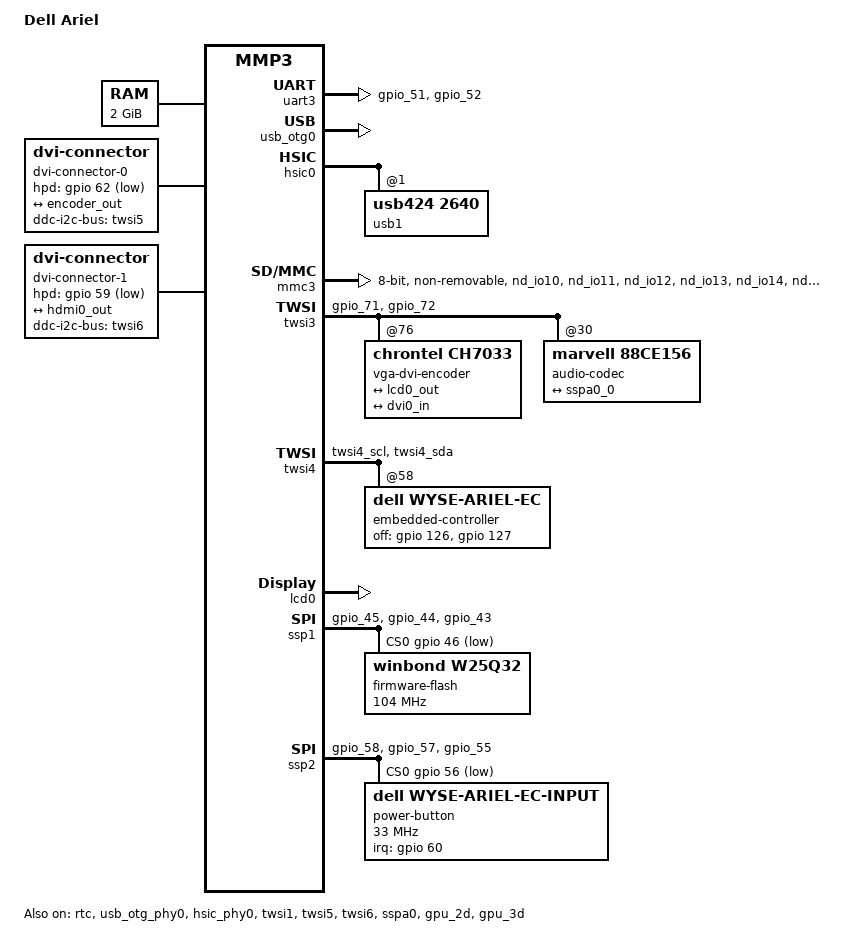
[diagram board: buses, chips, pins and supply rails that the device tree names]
// SPDX-License-Identifier: GPL-2.0-or-later OR MIT
/*
 * Dell Wyse 3020 a.k.a. "Ariel" a.k.a. Tx0D (T00D, T10D)
 *
 * Copyright (C) 2019,2020 Lubomir Rintel <lkundrak@v3.sk>
 */

/dts-v1/;
#include "mmp3.dtsi"
#include <dt-bindings/gpio/gpio.h>
#include <dt-bindings/interrupt-controller/irq.h>

/ {
	model = "Dell Ariel";
	compatible = "dell,wyse-ariel", "marvell,mmp3";

	aliases {
		serial2 = &uart3;
	};

	chosen {
		#address-cells = <0x1>;
		#size-cells = <0x1>;
		ranges;
		bootargs = "console=tty0 earlyprintk=ttyS2,115200 console=ttyS2,115200 root=/dev/sda3 fbcon=nodefer rootwait lockless_register_fb no_console_suspend";
		/* bootargs = "console=tty0 earlyprintk=ttyS2,115200 console=ttyS2,115200 root=/dev/sda3 fbcon=nodefer rootwait debug ignore_loglevel drm.debug=65535"; */
	};

	memory@0 {
		available = <0x7f700000 0x7ff00000 0x00000000 0x7f600000>;
		reg = <0x0 0x80000000>;
		device_type = "memory";
	};

	reserved-memory {
		#address-cells = <1>;
		#size-cells = <1>;
		ranges;

		display_reserved: framebuffer {
			compatible = "marvell,mmp2-framebuffer",
				     "marvell,armada-framebuffer";
			size = <0x02000000>;
			alignment = <0x02000000>;
			no-map;
		};
	};

	dvi-connector-0 {
		compatible = "dvi-connector";
		ddc-i2c-bus = <&twsi5>;
		hpd-gpios = <&gpio 62 GPIO_ACTIVE_LOW>;
		digital;
		analog;

		port {
			dvi0_in: endpoint {
				remote-endpoint = <&encoder_out>;
			};
		};
	};

	dvi-connector-1 {
		compatible = "dvi-connector";
		ddc-i2c-bus = <&twsi6>;
		hpd-gpios = <&gpio 59 GPIO_ACTIVE_LOW>;
		digital;

		port {
			dvi1_in: endpoint {
				remote-endpoint = <&hdmi0_out>;
			};
		};
	};

	sound-card {
		compatible = "audio-graph-card";
		label = "Dell Ariel";
		dais = <&sspa0_dai>;
		routing = "Headphones", "HPL",
			  "Headphones", "HPR",
			  "Speaker External", "SPKLN",
			  "Speaker External", "SPKLP",
			  "Speaker External", "SPKRN",
			  "Speaker External", "SPKRP",
			  "MIC1N", "Mic Jack",
			  "MIC1P", "Mic Jack";
		widgets = "Headphone", "Headphones",
			  "Speaker", "Speaker External",
			  "Microphone", "Mic Jack";
	};
};

&uart3 {
	status = "okay";
	pinctrl-names = "default";
	pinctrl-0 = <&uart3_pins>;
};

&rtc {
	status = "okay";
};

&usb_otg0 {
	status = "okay";
};

&usb_otg_phy0 {
	status = "okay";
};

&hsic0 {
	status = "okay";

	usb1@1 {
		compatible = "usb424,2640";
		reg = <0x01>;
		#address-cells = <0x01>;
		#size-cells = <0x00>;

		mass-storage@1 {
			compatible = "usb424,4040";
			reg = <0x01>;
			status = "disabled";
		};
	};
};

&hsic_phy0 {
	status = "okay";
	reset-gpios = <&gpio 63 GPIO_ACTIVE_HIGH>;
};

&mmc3 {
	status = "okay";
	pinctrl-names = "default";
	pinctrl-0 = <&mmc3_pins>;
	max-frequency = <50000000>;
	status = "okay";
	bus-width = <8>;
	non-removable;
	cap-mmc-highspeed;
};

&twsi1 {
	status = "okay";
	pinctrl-names = "default";
	pinctrl-0 = <&twsi1_pins>;

	rtc@68 {
		compatible = "dallas,ds1338";
		reg = <0x68>;
		status = "okay";
	};

	regulator@19 {
		compatible = "marvell,88pg867";
		reg = <0x19>;

		vcpu: buck1 {
			regulator-name = "vdd_1v8";
			regulator-min-microvolt = <1800000>;
			regulator-max-microvolt = <1800000>;
			regulator-boot-on;
			regulator-always-on;
		};
	};
};

&twsi3 {
	status = "okay";
	pinctrl-names = "default";
	pinctrl-0 = <&twsi3_pins>;

	vga-dvi-encoder@76 {
		compatible = "chrontel,ch7033";
		reg = <0x76>;

		ports {
			#address-cells = <1>;
			#size-cells = <0>;

			port@0 {
				reg = <0>;
				encoder_in: endpoint {
					remote-endpoint = <&lcd0_out>;
				};
			};

			port@1 {
				reg = <1>;
				encoder_out: endpoint {
					remote-endpoint = <&dvi0_in>;
				};
			};
		};
	};

	audio-codec@30 {
		compatible = "marvell,88ce156";
		reg = <0x30>;

		port {
			ce156_0: endpoint {
				mclk-fs = <256>;
				clocks = <&audio_clk 0>;
				remote-endpoint = <&sspa0_0>;
			};
		};
	};
};

&twsi4 {
	status = "okay";
	pinctrl-names = "default";
	pinctrl-0 = <&twsi4_pins>;

	embedded-controller@58 {
		compatible = "dell,wyse-ariel-ec", "ene,kb3930";
		reg = <0x58>;
		system-power-controller;

		off-gpios = <&gpio 126 GPIO_ACTIVE_HIGH>,
			    <&gpio 127 GPIO_ACTIVE_HIGH>;
	};
};

&twsi5 {
	status = "okay";
};

&twsi6 {
	status = "okay";
};

&twsi6 {
	status = "okay";
	pinctrl-names = "default";
	pinctrl-0 = <&twsi6_pins>;
};

&lcd0 {
	status = "okay";
};

&lcd0_out {
	remote-endpoint = <&encoder_in>;
};

&hdmi0_out {
	remote-endpoint = <&dvi1_in>;
};

&ssp1 {
	status = "okay";
	pinctrl-names = "default";
	pinctrl-0 = <&ssp1_pins>;
	cs-gpios = <&gpio 46 GPIO_ACTIVE_LOW>;

	firmware-flash@0 {
		compatible = "winbond,w25q32", "jedec,spi-nor";
		reg = <0>;
		spi-max-frequency = <104000000>;
		m25p,fast-read;
	};
};

&ssp2 {
	status = "okay";
	cs-gpios = <&gpio 56 GPIO_ACTIVE_LOW>;
	pinctrl-names = "default";
	pinctrl-0 = <&ssp2_pins>;

	power-button@0 {
		reg = <0>;
		interrupt-parent = <&gpio>;
		interrupts = <60 IRQ_TYPE_EDGE_RISING>;
		compatible = "dell,wyse-ariel-ec-input", "ene,kb3930-input";
		spi-max-frequency = <33000000>;
	};
};

&asram {
	status = "okay";
};

&adma0 {
	status = "okay";
};

&audio_clk {
	status = "okay";
};

&sspa0 {
	status = "okay";
	dmas = <&adma0 0>, <&adma0 1>;
	dma-names = "tx", "rx";

	sspa0_dai: port {
		sspa0_0: endpoint {
			remote-endpoint = <&ce156_0>;
			frame-master;
			bitclock-master;
			dai-format = "i2s";
		};
	};
};

&gpu_2d {
	status = "okay";
};

&gpu_3d {
	status = "okay";
};

&pinctrl {
/*
	pinctrl-names = "default";
	pinctrl-0 = <&my_lovely_pins>;

	my_lovely_pins: pinmux_my_lovely_pins {
		pinctrl-single,pins =
			// I2S on GPIO24-GPIO28
			//        /* SSPA1 (I2S) /
			//        GPIO25_I2S_BITCLK,
			//        GPIO26_I2S_SYNC,
			//        GPIO27_I2S_DATA_OUT,
			//        GPIO28_I2S_SDATA_IN,
			<0x0b4 1>, <0x0b8 1>, <0x0bc 1>, <0x0c0 1>, <0x0c4 1>,
			// I2S on GPIO33-GPIO36
			<0x0d8 2>, <0x0dc 2>, <0x0e0 2>, <0x0e4 2>,
			// GPIO on GPIO156-GPIO159 instead of JTAG (doesn't work, stays on 0x000090C0)
			<0x14c 1>, <0x150 1>, <0x154 1>, <0x158 1>;
	};
*/

	uart3_pins: uart3-pins {
	        pins = "gpio_51", "gpio_52";
	        function = "uart3";
	        slew-rate = <2>;
	        marvell,sleep-output = <0>;
	        // WKE_0;
	};

	mmc3_pins: mmc3-pins {
	        pins = "nd_io10", "nd_io11", "nd_io12", "nd_io13",
		       "nd_io14", "nd_io15", "nd_io8", "nd_io9",
		       "sm_ncs0", "sm_ncs1";
	        function = "mmc3";
	        slew-rate = <2>;
	        marvell,sleep-output = <0>;
	        // WKE_0;
	};

	twsi1_pins: twsi1-pins {
		pins = "twsi1_scl", "twsi1_sda";
		XXX-TWSI;
		bias-pull-up;
		slew-rate = <2>;
		marvell,sleep-input;
	};

	twsi3_pins: twsi3-pins {
		pins = "gpio_71", "gpio_72";
		function = "twsi3";
		slew-rate = <1>;
		marvell,sleep-output = <0>;
		// WKE_0;
	};

	twsi4_pins: twsi4-pins {
		pins = "twsi4_scl", "twsi4_sda";
		function = "twsi4";
		slew-rate = <1>;
		marvell,sleep-output = <0>;
		// WKE_0;
	};

	twsi5_pins: twsi5-pins {
		pins = "gpio_41", "gpio_42";
		function = "twsi5";
		slew-rate = <1>;
		marvell,sleep-output = <0>;
		// WKE_0;
	};

	twsi6_pins: twsi6-pins {
		pins = "gpio_47", "gpio_48";
		function = "twsi6";
		slew-rate = <1>;
		marvell,sleep-output = <0>;
		// WKE_0;
	};

	lcd_pins: lcd-pins {
		lcd-fclk-pins {
			pins = "gpio_74";
			function = "lcd";
			slew-rate = <1>;
			marvell,sleep-output = <0>;
			// WKE_0;
		};

		lcd-lclk-pins {
			pins = "gpio_75";
			function = "lcd";
			slew-rate = <1>;
			marvell,sleep-output = <0>;
			// WKE_0;
		};

		lcd-pclk-pins {
			pins = "gpio_76";
			function = "lcd";
			bias-pull-up;
			slew-rate = <3>;
			marvell,sleep-output = <0>;
			// WKE_0;
		};

		lcd-dena-pins {
			pins = "gpio_77";
			function = "lcd";
			slew-rate = <1>;
			marvell,sleep-output = <0>;
			// WKE_0;
		};

		lcd-data-pins {
			pins = "gpio_100", "gpio_101", "gpio_78", "gpio_79",
			       "gpio_80", "gpio_81", "gpio_82", "gpio_83",
			       "gpio_84", "gpio_85", "gpio_86", "gpio_87",
			       "gpio_88", "gpio_89", "gpio_90", "gpio_91",
			       "gpio_92", "gpio_93", "gpio_94", "gpio_95",
			       "gpio_96", "gpio_97", "gpio_98", "gpio_99";
			function = "lcd";
			marvell,sleep-output = <0>;
			slew-rate = <1>;
			// WKE_0;
		};
	};

	ssp1_pins: ssp1-pins {
	        pins = "gpio_45", "gpio_44", "gpio_43";
	        function = "ssp1";
	        slew-rate = <2>;
	        marvell,sleep-output = <0>;
	        bias-pull-up;
	        // WKE_0;
	};

	ssp2_pins: ssp2-pins {
	        pins = "gpio_58", "gpio_57", "gpio_55";
	        function = "ssp2";
	        slew-rate = <2>;
	        marvell,sleep-output = <0>;
	        bias-pull-up;
	        // WKE_0;
	};
};
